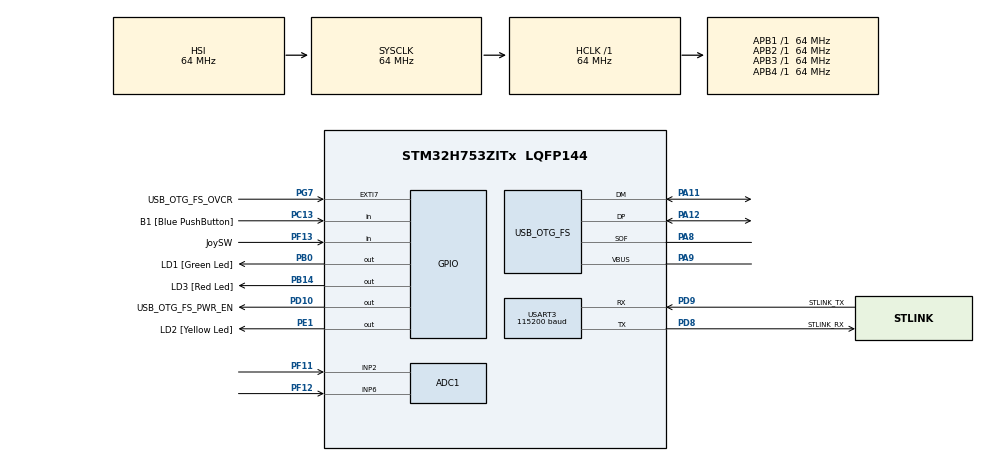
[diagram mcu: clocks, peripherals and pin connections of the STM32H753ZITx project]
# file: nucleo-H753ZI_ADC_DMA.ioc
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ADC1.Channel-1\#ChannelRegularConversion=ADC_CHANNEL_2
ADC1.Channel-2\#ChannelRegularConversion=ADC_CHANNEL_6
ADC1.ContinuousConvMode=ENABLE
ADC1.ConversionDataManagement=ADC_CONVERSIONDATA_DMA_CIRCULAR
ADC1.NbrOfConversion=2
ADC1.NbrOfConversionFlag=1
ADC1.OffsetNumber-1\#ChannelRegularConversion=ADC_OFFSET_NONE
ADC1.OffsetNumber-2\#ChannelRegularConversion=ADC_OFFSET_NONE
ADC1.OffsetSignedSaturation-1\#ChannelRegularConversion=DISABLE
ADC1.OffsetSignedSaturation-2\#ChannelRegularConversion=DISABLE
ADC1.Rank-1\#ChannelRegularConversion=1
ADC1.Rank-2\#ChannelRegularConversion=2
ADC1.SamplingTime-1\#ChannelRegularConversion=ADC_SAMPLETIME_387CYCLES_5
ADC1.SamplingTime-2\#ChannelRegularConversion=ADC_SAMPLETIME_387CYCLES_5
ADC1.master=1
CORTEX_M7.CPU_DCache=Disabled
CORTEX_M7.CPU_ICache=Disabled
CORTEX_M7.MPU_Control=__NULL
Dma.ADC1.0.Direction=DMA_PERIPH_TO_MEMORY
Dma.ADC1.0.EventEnable=DISABLE
Dma.ADC1.0.FIFOMode=DMA_FIFOMODE_DISABLE
Dma.ADC1.0.Instance=DMA1_Stream0
Dma.ADC1.0.MemDataAlignment=DMA_MDATAALIGN_WORD
Dma.ADC1.0.MemInc=DMA_MINC_ENABLE
Dma.ADC1.0.Mode=DMA_CIRCULAR
Dma.ADC1.0.PeriphDataAlignment=DMA_PDATAALIGN_WORD
Dma.ADC1.0.PeriphInc=DMA_PINC_DISABLE
Dma.ADC1.0.Polarity=HAL_DMAMUX_REQ_GEN_RISING
Dma.ADC1.0.Priority=DMA_PRIORITY_LOW
Dma.ADC1.0.RequestNumber=1
Dma.ADC1.0.SignalID=NONE
Dma.ADC1.0.SyncEnable=DISABLE
Dma.ADC1.0.SyncPolarity=HAL_DMAMUX_SYNC_NO_EVENT
Dma.ADC1.0.SyncRequestNumber=1
Dma.ADC1.0.SyncSignalID=NONE
Dma.Request0=ADC1
FREERTOS.Tasks01=defaultTask,24,500,StartDefaultTask,Default,NULL,Dynamic,NULL,NULL
FREERTOS.configCHECK_FOR_STACK_OVERFLOW=2
FREERTOS.configENABLE_FPU=1
FREERTOS.configTOTAL_HEAP_SIZE=410000
FREERTOS.configUSE_MALLOC_FAILED_HOOK=1
FREERTOS.configUSE_NEWLIB_REENTRANT=1
Mcu.Family=STM32H7
Mcu.Name=STM32H753ZITx
Mcu.Package=LQFP144
NVIC.DMA1_Stream0_IRQn=true\:0\:0\:false\:false\:true\:false\:false\:true\:true
NVIC.PriorityGroup=NVIC_PRIORITYGROUP_4
NVIC.TIM6_DAC_IRQn=true\:15\:0\:false\:false\:true\:false\:false\:true\:true
NVIC.TimeBase=TIM6_DAC_IRQn
NVIC.TimeBaseIP=TIM6
PA1.Signal=ETH_REF_CLK
PA11.Mode=Device_Only
PA11.Signal=USB_OTG_FS_DM
PA12.Mode=Device_Only
PA12.Signal=USB_OTG_FS_DP
PA2.Signal=ETH_MDIO
PA7.Signal=ETH_CRS_DV
PA8.Mode=Activate_SOF_FS
PA8.Signal=USB_OTG_FS_SOF
PA9.Mode=Activate_VBUS
PA9.Signal=USB_OTG_FS_VBUS
PB0.GPIO_Label=LD1 [Green Led]
PB0.Signal=GPIO_Output
PB13.Signal=ETH_TXD1
PB14.GPIO_Label=LD3 [Red Led]
PB14.Signal=GPIO_Output
PC1.Signal=ETH_MDC
PC13.GPIO_Label=B1 [Blue PushButton]
PC13.Signal=GPIO_Input
PC14-OSC32_IN\ (OSC32_IN).Mode=LSE-External-Oscillator
PC14-OSC32_IN\ (OSC32_IN).Signal=RCC_OSC32_IN
PC15-OSC32_OUT\ (OSC32_OUT).Mode=LSE-External-Oscillator
PC15-OSC32_OUT\ (OSC32_OUT).Signal=RCC_OSC32_OUT
PC4.Signal=ETH_RXD0
PC5.Signal=ETH_RXD1
PD10.GPIO_Label=USB_OTG_FS_PWR_EN
PD10.Signal=GPIO_Output
PD8.GPIO_Label=STLINK_RX
PD8.Mode=Asynchronous
PD8.Signal=USART3_TX
PD9.GPIO_Label=STLINK_TX
PD9.Mode=Asynchronous
PD9.Signal=USART3_RX
PE1.GPIO_Label=LD2 [Yellow Led]
PE1.Signal=GPIO_Output
PF11.Mode=IN2-Single-Ended
PF11.Signal=ADC1_INP2
PF12.Mode=IN6-Single-Ended
PF12.Signal=ADC1_INP6
PF13.GPIO_Label=JoySW
PF13.Signal=GPIO_Input
PG11.Signal=ETH_TX_EN
PG13.Signal=ETH_TXD0
PG7.GPIO_Label=USB_OTG_FS_OVCR
PG7.Signal=GPXTI7
PH0-OSC_IN\ (PH0).Mode=HSE-External-Clock-Source
PH0-OSC_IN\ (PH0).Signal=RCC_OSC_IN
PH1-OSC_OUT\ (PH1).Signal=RCC_OSC_OUT
ProjectManager.HeapSize=0x200
ProjectManager.StackSize=0x400
ProjectManager.TargetToolchain=STM32CubeIDE
RCC.ADCFreq_Value=75000000
RCC.APB1Freq_Value=64000000
RCC.APB2Freq_Value=64000000
RCC.APB3Freq_Value=64000000
RCC.APB4Freq_Value=64000000
RCC.CortexFreq_Value=64000000
RCC.DIVM1=1
RCC.DIVM2=1
RCC.DIVN1=18
RCC.DIVN2=18
RCC.DIVQ1=3
RCC.HCLKFreq_Value=64000000
RCC.HSE_VALUE=8000000
RCC.PLL2FRACN=6144
RCC.PLLFRACN=6144
RCC.PWR_Regulator_Voltage_Scale=PWR_REGULATOR_VOLTAGE_SCALE2
RCC.SYSCLKFreq_VALUE=64000000
RCC.USBFreq_Value=50000000
USART3.AutoBaudRateEnableParam=UART_ADVFEATURE_AUTOBAUDRATE_DISABLE
USART3.BaudRate=115200
USART3.ClockPrescaler=PRESCALER_DIV1
USART3.DMADisableonRxErrorParam=ADVFEATURE_DMA_ENABLEONRXERROR
USART3.DataInvertParam=ADVFEATURE_DATAINV_DISABLE
USART3.FIFOMode=FIFOMODE_DISABLE
USART3.MSBFirstParam=ADVFEATURE_MSBFIRST_DISABLE
USART3.Mode=MODE_TX_RX
USART3.OneBitSampling=UART_ONE_BIT_SAMPLE_DISABLE
USART3.OverSampling=UART_OVERSAMPLING_16
USART3.OverrunDisableParam=ADVFEATURE_OVERRUN_ENABLE
USART3.Parity=PARITY_NONE
USART3.RXFIFOThreshold=RXFIFO_THRESHOLD_1EIGHTHFULL
USART3.RxPinLevelInvertParam=ADVFEATURE_RXINV_DISABLE
USART3.StopBits=STOPBITS_1
USART3.SwapParam=ADVFEATURE_SWAP_DISABLE
USART3.TXFIFOThreshold=TXFIFO_THRESHOLD_1EIGHTHFULL
USART3.TxPinLevelInvertParam=ADVFEATURE_TXINV_DISABLE
USART3.VirtualMode-Asynchronous=VM_ASYNC
USART3.WordLength=WORDLENGTH_8B
USB_OTG_FS.Sof_enable=ENABLE
USB_OTG_FS.VirtualMode=Device_Only
USB_OTG_FS.battery_charging_enable=ENABLE
USB_OTG_FS.low_power_enable=DISABLE
USB_OTG_FS.lpm_enable=DISABLE
USB_OTG_FS.use_dedicated_ep1=DISABLE
USB_OTG_FS.vbus_sensing_enable=ENABLE
VP_FREERTOS_VS_CMSIS_V2.Mode=CMSIS_V2
VP_SYS_VS_tim6.Mode=TIM6
board=NUCLEO-H753ZI

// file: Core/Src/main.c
/* USER CODE BEGIN Header */
/**
  ******************************************************************************
  * @file           : main.c
  * @brief          : Main program body
  ******************************************************************************
  * @attention
  *
  * Copyright (c) 2024 STMicroelectronics.
  * All rights reserved.
  *
  * This software is licensed under terms that can be found in the LICENSE file
  * in the root directory of this software component.
  * If no LICENSE file comes with this software, it is provided AS-IS.
  *
  ******************************************************************************
  */
/* USER CODE END Header */
#include "main.h"
#include "cmsis_os.h"
#include "adc.h"
#include "dma.h"
#include "usart.h"
#include "usb_otg.h"
#include "gpio.h"

/* USER CODE BEGIN PV */
uint32_t ucADC1Buffer[2];
/* USER CODE END PV */

void SystemClock_Config(void);
void MX_FREERTOS_Init(void);

int main(void)
{

  /* MCU Configuration--------------------------------------------------------*/

  /* Reset of all peripherals, Initializes the Flash interface and the Systick. */
  HAL_Init();

  /* Configure the system clock */
  SystemClock_Config();

  /* Initialize all configured peripherals */
  MX_GPIO_Init();
  MX_DMA_Init();
  MX_USART3_UART_Init();
  MX_USB_OTG_FS_PCD_Init();
  MX_ADC1_Init();
  /* USER CODE BEGIN 2 */
  HAL_ADC_Start_DMA(&hadc1, ucADC1Buffer, 2);
  /* USER CODE END 2 */

  /* Init scheduler */
  osKernelInitialize();

  /* Call init function for freertos objects (in cmsis_os2.c) */
  MX_FREERTOS_Init();

  /* Start scheduler */
  osKernelStart();

  /* We should never get here as control is now taken by the scheduler */

  /* Infinite loop */
  while (1)
  {

  }
}

void SystemClock_Config(void)
{
  RCC_OscInitTypeDef RCC_OscInitStruct = {0};
  RCC_ClkInitTypeDef RCC_ClkInitStruct = {0};

  /** Supply configuration update enable
  */
  HAL_PWREx_ConfigSupply(PWR_LDO_SUPPLY);

  /** Configure the main internal regulator output voltage
  */
  __HAL_PWR_VOLTAGESCALING_CONFIG(PWR_REGULATOR_VOLTAGE_SCALE2);

  while(!__HAL_PWR_GET_FLAG(PWR_FLAG_VOSRDY)) {}

  /** Initializes the RCC Oscillators according to the specified parameters
  * in the RCC_OscInitTypeDef structure.
  */
  RCC_OscInitStruct.OscillatorType = RCC_OSCILLATORTYPE_HSI|RCC_OSCILLATORTYPE_HSE;
  RCC_OscInitStruct.HSEState = RCC_HSE_BYPASS;
  RCC_OscInitStruct.HSIState = RCC_HSI_DIV1;
  RCC_OscInitStruct.HSICalibrationValue = RCC_HSICALIBRATION_DEFAULT;
  RCC_OscInitStruct.PLL.PLLState = RCC_PLL_ON;
  RCC_OscInitStruct.PLL.PLLSource = RCC_PLLSOURCE_HSE;
  RCC_OscInitStruct.PLL.PLLM = 1;
  RCC_OscInitStruct.PLL.PLLN = 18;
  RCC_OscInitStruct.PLL.PLLP = 2;
  RCC_OscInitStruct.PLL.PLLQ = 3;
  RCC_OscInitStruct.PLL.PLLR = 2;
  RCC_OscInitStruct.PLL.PLLRGE = RCC_PLL1VCIRANGE_3;
  RCC_OscInitStruct.PLL.PLLVCOSEL = RCC_PLL1VCOMEDIUM;
  RCC_OscInitStruct.PLL.PLLFRACN = 6144;
  if (HAL_RCC_OscConfig(&RCC_OscInitStruct) != HAL_OK)
  {
    Error_Handler();
  }

  /** Initializes the CPU, AHB and APB buses clocks
  */
  RCC_ClkInitStruct.ClockType = RCC_CLOCKTYPE_HCLK|RCC_CLOCKTYPE_SYSCLK
                              |RCC_CLOCKTYPE_PCLK1|RCC_CLOCKTYPE_PCLK2
                              |RCC_CLOCKTYPE_D3PCLK1|RCC_CLOCKTYPE_D1PCLK1;
  RCC_ClkInitStruct.SYSCLKSource = RCC_SYSCLKSOURCE_HSI;
  RCC_ClkInitStruct.SYSCLKDivider = RCC_SYSCLK_DIV1;
  RCC_ClkInitStruct.AHBCLKDivider = RCC_HCLK_DIV1;
  RCC_ClkInitStruct.APB3CLKDivider = RCC_APB3_DIV1;
  RCC_ClkInitStruct.APB1CLKDivider = RCC_APB1_DIV1;
  RCC_ClkInitStruct.APB2CLKDivider = RCC_APB2_DIV1;
  RCC_ClkInitStruct.APB4CLKDivider = RCC_APB4_DIV1;

  if (HAL_RCC_ClockConfig(&RCC_ClkInitStruct, FLASH_LATENCY_1) != HAL_OK)
  {
    Error_Handler();
  }
}

/* USER CODE BEGIN 4 */
void HAL_ADC_ConvCpltCallback(ADC_HandleTypeDef* hadc)
{

}
/* USER CODE END 4 */

void HAL_TIM_PeriodElapsedCallback(TIM_HandleTypeDef *htim)
{
  if (htim->Instance == TIM6) {
    HAL_IncTick();
  }
}

void Error_Handler(void)
{
  __disable_irq();
  while (1)
  {
  }
}

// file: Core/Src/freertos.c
/* USER CODE BEGIN Header */
/**
  ******************************************************************************
  * File Name          : freertos.c
  * Description        : Code for freertos applications
  ******************************************************************************
  * @attention
  *
  * Copyright (c) 2024 STMicroelectronics.
  * All rights reserved.
  *
  * This software is licensed under terms that can be found in the LICENSE file
  * in the root directory of this software component.
  * If no LICENSE file comes with this software, it is provided AS-IS.
  *
  ******************************************************************************
  */
/* USER CODE END Header */

#include "FreeRTOS.h"
#include "task.h"
#include "main.h"
#include "cmsis_os.h"

/* USER CODE BEGIN Includes */
#include "light_printf.h"

#include "adc.h"
#include "dma.h"
/* USER CODE END Includes */

/* USER CODE BEGIN Variables */
extern uint32_t ucADC1Buffer[2];
/* USER CODE END Variables */
/* Definitions for defaultTask */
osThreadId_t defaultTaskHandle;
const osThreadAttr_t defaultTask_attributes = {
  .name = "defaultTask",
  .stack_size = 500 * 4,
  .priority = (osPriority_t) osPriorityNormal,
};

void StartDefaultTask(void *argument);

void MX_FREERTOS_Init(void); /* (MISRA C 2004 rule 8.1) */

/* Hook prototypes */
void vApplicationStackOverflowHook(xTaskHandle xTask, signed char *pcTaskName);
void vApplicationMallocFailedHook(void);

/* USER CODE BEGIN 4 */
void vApplicationStackOverflowHook(xTaskHandle xTask, signed char *pcTaskName)
{

  for(;;)
  {
    printf_("| StackOverflow detected!!!");
  }
		   /* Run time stack overflow checking is performed if
   configCHECK_FOR_STACK_OVERFLOW is defined to 1 or 2. This hook function is
   called if a stack overflow is detected. */
}
/* USER CODE END 4 */

/* USER CODE BEGIN 5 */
void vApplicationMallocFailedHook(void)
{
  for(;;)
  {
	printf_("| HeapOverflow detected!!!");
  }
   /* vApplicationMallocFailedHook() will only be called if
   configUSE_MALLOC_FAILED_HOOK is set to 1 in FreeRTOSConfig.h. It is a hook
   function that will get called if a call to pvPortMalloc() fails.
   pvPortMalloc() is called internally by the kernel whenever a task, queue,
   timer or semaphore is created. It is also called by various parts of the
   demo application. If heap_1.c or heap_2.c are used, then the size of the
   heap available to pvPortMalloc() is defined by configTOTAL_HEAP_SIZE in
   FreeRTOSConfig.h, and the xPortGetFreeHeapSize() API function can be used
   to query the size of free heap space that remains (although it does not
   provide information on how the remaining heap might be fragmented). */
}
/* USER CODE END 5 */

void MX_FREERTOS_Init(void) {

  /* Create the thread(s) */
  /* creation of defaultTask */
  defaultTaskHandle = osThreadNew(StartDefaultTask, NULL, &defaultTask_attributes);

}

void StartDefaultTask(void *argument)
{
  /* USER CODE BEGIN StartDefaultTask */

  uint32_t ucADC1Channel2;
  uint32_t ucADC1Channel6;
  unsigned int ucJoySW;
  /* Infinite loop */
  for(;;)
  {

	ucADC1Channel2 = ucADC1Buffer[0];
	ucADC1Channel6 = ucADC1Buffer[1];
	ucJoySW = HAL_GPIO_ReadPin(JoySW_GPIO_Port, JoySW_Pin);
	printf_("%d | %d | %d\n\r",ucADC1Channel2, ucADC1Channel6, ucJoySW);
    osDelay(100);
  }
  /* USER CODE END StartDefaultTask */
}
